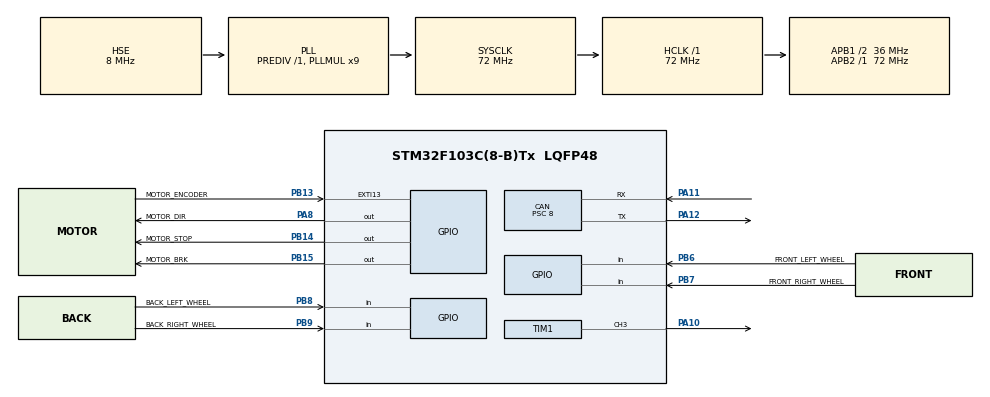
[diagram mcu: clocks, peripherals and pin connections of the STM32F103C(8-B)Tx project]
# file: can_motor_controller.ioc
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CAN.BS1=CAN_BS1_6TQ
CAN.BS2=CAN_BS2_2TQ
CAN.CalculateBaudRate=500000
CAN.CalculateTimeBit=2000
CAN.CalculateTimeQuantum=222.22222222222223
CAN.Prescaler=8
Mcu.Family=STM32F1
Mcu.Name=STM32F103C(8-B)Tx
Mcu.Package=LQFP48
NVIC.EXTI15_10_IRQn=true\:2\:0\:true\:false\:true\:true\:true\:true
NVIC.PriorityGroup=NVIC_PRIORITYGROUP_4
NVIC.USB_LP_CAN1_RX0_IRQn=true\:1\:0\:true\:false\:true\:true\:true\:true
PA10.Signal=S_TIM1_CH3
PA11.Mode=CAN_Activate
PA11.Signal=CAN_RX
PA12.Mode=CAN_Activate
PA12.Signal=CAN_TX
PA13.Mode=Serial_Wire
PA13.Signal=SYS_JTMS-SWDIO
PA14.Mode=Serial_Wire
PA14.Signal=SYS_JTCK-SWCLK
PA8.GPIO_Label=MOTOR_DIR
PA8.Signal=GPIO_Output
PB13.GPIO_Label=MOTOR_ENCODER
PB13.GPIO_ModeDefaultEXTI=GPIO_MODE_IT_RISING_FALLING
PB13.Signal=GPXTI13
PB14.GPIO_Label=MOTOR_STOP
PB14.Signal=GPIO_Output
PB15.GPIO_Label=MOTOR_BRK
PB15.Signal=GPIO_Output
PB6.GPIO_Label=FRONT_LEFT_WHEEL
PB6.GPIO_PuPd=GPIO_PULLUP
PB6.Signal=GPIO_Input
PB7.GPIO_Label=FRONT_RIGHT_WHEEL
PB7.GPIO_PuPd=GPIO_PULLUP
PB7.Signal=GPIO_Input
PB8.GPIO_Label=BACK_LEFT_WHEEL
PB8.GPIO_PuPd=GPIO_PULLUP
PB8.Signal=GPIO_Input
PB9.GPIO_Label=BACK_RIGHT_WHEEL
PB9.GPIO_PuPd=GPIO_PULLUP
PB9.Signal=GPIO_Input
PD0-OSC_IN.Mode=HSE-External-Oscillator
PD0-OSC_IN.Signal=RCC_OSC_IN
PD1-OSC_OUT.Mode=HSE-External-Oscillator
PD1-OSC_OUT.Signal=RCC_OSC_OUT
ProjectManager.HeapSize=0x200
ProjectManager.StackSize=0x400
ProjectManager.TargetToolchain=STM32CubeIDE
RCC.AHBFreq_Value=72000000
RCC.APB1CLKDivider=RCC_HCLK_DIV2
RCC.APB1Freq_Value=36000000
RCC.APB1TimFreq_Value=72000000
RCC.APB2Freq_Value=72000000
RCC.APB2TimFreq_Value=72000000
RCC.HCLKFreq_Value=72000000
RCC.PLLMUL=RCC_PLL_MUL9
RCC.PLLSourceVirtual=RCC_PLLSOURCE_HSE
RCC.SYSCLKFreq_VALUE=72000000
RCC.SYSCLKSource=RCC_SYSCLKSOURCE_PLLCLK
RCC.USBFreq_Value=72000000
SH.S_TIM1_CH3.0=TIM1_CH3,PWM Generation3 CH3
TIM1.Channel-PWM\ Generation3\ CH3=TIM_CHANNEL_3
TIM1.Period=255
TIM1.Prescaler=27
board=custom

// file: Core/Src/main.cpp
/* USER CODE BEGIN Header */
/**
  ******************************************************************************
  * @file           : main.cpp
  * @brief          : Main program body
  ******************************************************************************
  * @attention
  *
  * Copyright (c) 2023 STMicroelectronics.
  * All rights reserved.
  *
  * This software is licensed under terms that can be found in the LICENSE file
  * in the root directory of this software component.
  * If no LICENSE file comes with this software, it is provided AS-IS.
  *
  ******************************************************************************
  */
/* USER CODE END Header */
#include "main.h"
#include "can.h"
#include "tim.h"
#include "gpio.h"

/* USER CODE BEGIN Includes */
#include "can_wrapper.h"       // for CanWrapper
#include "iwheel_controller.h" // for IWheelController
#include "wheel.h"             // for Wheel
#include "wheel_controller.h"  // for WheelController
/* USER CODE END Includes */

/* USER CODE BEGIN PV */
Wheel wheel;
WheelController wheel_controller;
CanWrapper can_wrapper;
IWheelController i_wheel_controller;
/* USER CODE END PV */

void SystemClock_Config(void);

/* USER CODE BEGIN 0 */
// Redirect printf output to ITM
int _write(int fd, char *ptr, int len) {
  for (int i = 0; i < len; i++) {
    ITM_SendChar(*ptr++);
  }
  return len;
}

void TimeoutCheckLoop(bool bypass_check = false) {
  if (i_wheel_controller.TimeoutCheckCallback() || bypass_check) {
    i_wheel_controller.UpdateEmptyCanMessage();
    i_wheel_controller.CommandCallback();
    i_wheel_controller.FeedbackCallback();
  }
}

void CanReceiveHandler() {
  if (i_wheel_controller.UpdateCanMessage() &&
      i_wheel_controller.CommandReady()) {
    i_wheel_controller.CommandCallback();
  }

  if (i_wheel_controller.FeedbackReady()) {
    i_wheel_controller.FeedbackCallback();
  }
}
/* USER CODE END 0 */

int main(void)
{

  /* MCU Configuration--------------------------------------------------------*/

  /* Reset of all peripherals, Initializes the Flash interface and the Systick. */
  HAL_Init();

  /* Initialize all configured peripherals */
  MX_GPIO_Init();
  MX_CAN_Init();
  MX_TIM1_Init();

  /* USER CODE BEGIN Init */
  wheel.Init();
  wheel_controller.Init(wheel);
  can_wrapper.Init(wheel.Properties().TransmitId(),
                   wheel.Properties().ReceiveId());
  i_wheel_controller.Init(wheel_controller, can_wrapper);
  /* USER CODE END Init */

  /* Configure the system clock */
  SystemClock_Config();

  /* Infinite loop */
  /* USER CODE BEGIN WHILE */
  while (1)
  {
    TimeoutCheckLoop();
    /* USER CODE END WHILE */
  }
}

void SystemClock_Config(void)
{
  RCC_OscInitTypeDef RCC_OscInitStruct = {0};
  RCC_ClkInitTypeDef RCC_ClkInitStruct = {0};

  /** Initializes the RCC Oscillators according to the specified parameters
  * in the RCC_OscInitTypeDef structure.
  */
  RCC_OscInitStruct.OscillatorType = RCC_OSCILLATORTYPE_HSE;
  RCC_OscInitStruct.HSEState = RCC_HSE_ON;
  RCC_OscInitStruct.HSEPredivValue = RCC_HSE_PREDIV_DIV1;
  RCC_OscInitStruct.HSIState = RCC_HSI_ON;
  RCC_OscInitStruct.PLL.PLLState = RCC_PLL_ON;
  RCC_OscInitStruct.PLL.PLLSource = RCC_PLLSOURCE_HSE;
  RCC_OscInitStruct.PLL.PLLMUL = RCC_PLL_MUL9;
  if (HAL_RCC_OscConfig(&RCC_OscInitStruct) != HAL_OK)
  {
    Error_Handler();
  }

  /** Initializes the CPU, AHB and APB buses clocks
  */
  RCC_ClkInitStruct.ClockType = RCC_CLOCKTYPE_HCLK|RCC_CLOCKTYPE_SYSCLK
                              |RCC_CLOCKTYPE_PCLK1|RCC_CLOCKTYPE_PCLK2;
  RCC_ClkInitStruct.SYSCLKSource = RCC_SYSCLKSOURCE_PLLCLK;
  RCC_ClkInitStruct.AHBCLKDivider = RCC_SYSCLK_DIV1;
  RCC_ClkInitStruct.APB1CLKDivider = RCC_HCLK_DIV2;
  RCC_ClkInitStruct.APB2CLKDivider = RCC_HCLK_DIV1;

  if (HAL_RCC_ClockConfig(&RCC_ClkInitStruct, FLASH_LATENCY_2) != HAL_OK)
  {
    Error_Handler();
  }
}

/* USER CODE BEGIN 4 */
void HAL_CAN_RxFifo0MsgPendingCallback(CAN_HandleTypeDef *hcan)
{
  CanReceiveHandler();
}

void HAL_GPIO_EXTI_Callback(uint16_t GPIO_Pin)
{
  if(GPIO_Pin == MOTOR_ENCODER_Pin)
  {
    i_wheel_controller.UpdateWheelSignal();
  }
}
/* USER CODE END 4 */

void Error_Handler(void)
{
  /* USER CODE BEGIN Error_Handler_Debug */
  /* User can add his own implementation to report the HAL error return state */
  __disable_irq();
  while (1)
  {
    TimeoutCheckLoop(true);
  }
  /* USER CODE END Error_Handler_Debug */
}
